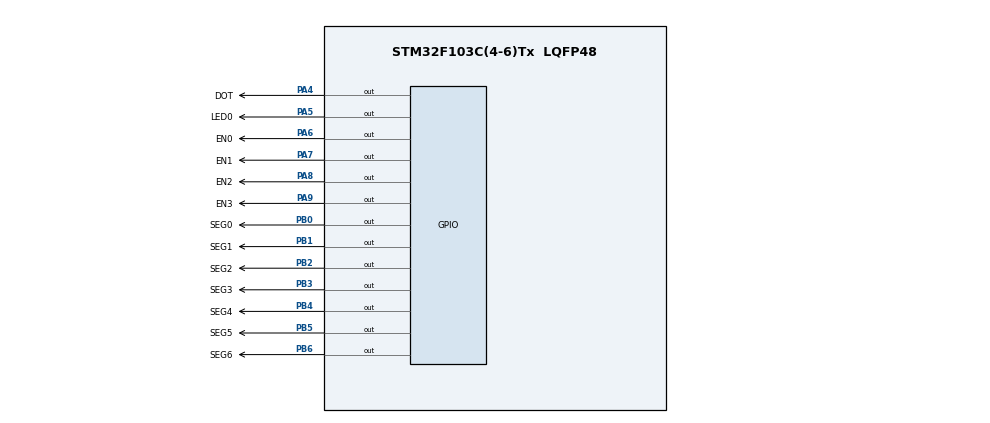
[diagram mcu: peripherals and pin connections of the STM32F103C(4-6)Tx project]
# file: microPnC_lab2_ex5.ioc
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Mcu.Family=STM32F1
Mcu.Name=STM32F103C(4-6)Tx
Mcu.Package=LQFP48
NVIC.PriorityGroup=NVIC_PRIORITYGROUP_4
NVIC.TIM2_IRQn=true\:0\:0\:false\:false\:true\:true\:true\:true
NVIC.TIM3_IRQn=true\:0\:0\:false\:false\:true\:true\:true\:true
PA4.GPIO_Label=DOT
PA4.Signal=GPIO_Output
PA5.GPIO_Label=LED0
PA5.Signal=GPIO_Output
PA6.GPIO_Label=EN0
PA6.Signal=GPIO_Output
PA7.GPIO_Label=EN1
PA7.Signal=GPIO_Output
PA8.GPIO_Label=EN2
PA8.Signal=GPIO_Output
PA9.GPIO_Label=EN3
PA9.Signal=GPIO_Output
PB0.GPIO_Label=SEG0
PB0.Signal=GPIO_Output
PB1.GPIO_Label=SEG1
PB1.Signal=GPIO_Output
PB2.GPIO_Label=SEG2
PB2.Signal=GPIO_Output
PB3.GPIO_Label=SEG3
PB3.Signal=GPIO_Output
PB4.GPIO_Label=SEG4
PB4.Signal=GPIO_Output
PB5.GPIO_Label=SEG5
PB5.Signal=GPIO_Output
PB6.GPIO_Label=SEG6
PB6.Signal=GPIO_Output
ProjectManager.HeapSize=0x200
ProjectManager.StackSize=0x400
ProjectManager.TargetToolchain=STM32CubeIDE
RCC.APB1Freq_Value=8000000
RCC.APB2Freq_Value=8000000
TIM2.Period=9
TIM2.Prescaler=7999
TIM3.Period=19
TIM3.Prescaler=7999
VP_TIM2_VS_ClockSourceINT.Mode=Internal
VP_TIM3_VS_ClockSourceINT.Mode=Internal
board=custom

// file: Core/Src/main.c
/* USER CODE BEGIN Header */
/**
  ******************************************************************************
  * @file           : main.c
  * @brief          : Main program body
  ******************************************************************************
  * @attention
  *
  * Copyright (c) 2022 STMicroelectronics.
  * All rights reserved.
  *
  * This software is licensed under terms that can be found in the LICENSE file
  * in the root directory of this software component.
  * If no LICENSE file comes with this software, it is provided AS-IS.
  *
  ******************************************************************************
  */
/* USER CODE END Header */
#include "main.h"
#include "tim.h"
#include "gpio.h"

/* USER CODE BEGIN Includes */
#include "software_timer.h"
#include "7_segments.h"
#include "led_modify.h"
/* USER CODE END Includes */

void SystemClock_Config(void);

int main(void)
{

  /* MCU Configuration--------------------------------------------------------*/

  /* Reset of all peripherals, Initializes the Flash interface and the Systick. */
  HAL_Init();

  /* Configure the system clock */
  SystemClock_Config();

  /* Initialize all configured peripherals */
  MX_GPIO_Init();
  MX_TIM2_Init();
  MX_TIM3_Init();
  /* USER CODE BEGIN 2 */
  HAL_TIM_Base_Start_IT(&htim2);
  HAL_TIM_Base_Start_IT(&htim3);
  /* USER CODE END 2 */

  /* Infinite loop */
  /* USER CODE BEGIN WHILE */
  Software_Timer_Init();
  Time_Input(12, 59, 55);
  while (1)
  {
	  if (stim2.flag == 1){
		  Segment_Processing();
		  stim2.Set_Timer(&stim2);
	  }
	  if (standardTime.flag == 1){
		  Clock_Counter();
		  standardTime.Set_Timer(&standardTime);
	  }
	  if (stim3.flag == 1){
		  Display_Dot_Buffer();
		  stim3.Set_Timer(&stim3);
	  }
    /* USER CODE END WHILE */

  }
}

void SystemClock_Config(void)
{
  RCC_OscInitTypeDef RCC_OscInitStruct = {0};
  RCC_ClkInitTypeDef RCC_ClkInitStruct = {0};

  /** Initializes the RCC Oscillators according to the specified parameters
  * in the RCC_OscInitTypeDef structure.
  */
  RCC_OscInitStruct.OscillatorType = RCC_OSCILLATORTYPE_HSI;
  RCC_OscInitStruct.HSIState = RCC_HSI_ON;
  RCC_OscInitStruct.HSICalibrationValue = RCC_HSICALIBRATION_DEFAULT;
  RCC_OscInitStruct.PLL.PLLState = RCC_PLL_NONE;
  if (HAL_RCC_OscConfig(&RCC_OscInitStruct) != HAL_OK)
  {
    Error_Handler();
  }

  /** Initializes the CPU, AHB and APB buses clocks
  */
  RCC_ClkInitStruct.ClockType = RCC_CLOCKTYPE_HCLK|RCC_CLOCKTYPE_SYSCLK
                              |RCC_CLOCKTYPE_PCLK1|RCC_CLOCKTYPE_PCLK2;
  RCC_ClkInitStruct.SYSCLKSource = RCC_SYSCLKSOURCE_HSI;
  RCC_ClkInitStruct.AHBCLKDivider = RCC_SYSCLK_DIV1;
  RCC_ClkInitStruct.APB1CLKDivider = RCC_HCLK_DIV1;
  RCC_ClkInitStruct.APB2CLKDivider = RCC_HCLK_DIV1;

  if (HAL_RCC_ClockConfig(&RCC_ClkInitStruct, FLASH_LATENCY_0) != HAL_OK)
  {
    Error_Handler();
  }
}

/* USER CODE BEGIN 4 */
void HAL_TIM_PeriodElapsedCallback(TIM_HandleTypeDef *htim){
	if (htim->Instance == TIM2){
		stim2.Timer_Run(&stim2);
		standardTime.Timer_Run(&standardTime);
	}
	else if (htim->Instance == TIM3)
		stim3.Timer_Run(&stim3);
}
/* USER CODE END 4 */

void Error_Handler(void)
{
  __disable_irq();
  while (1)
  {
  }
}
